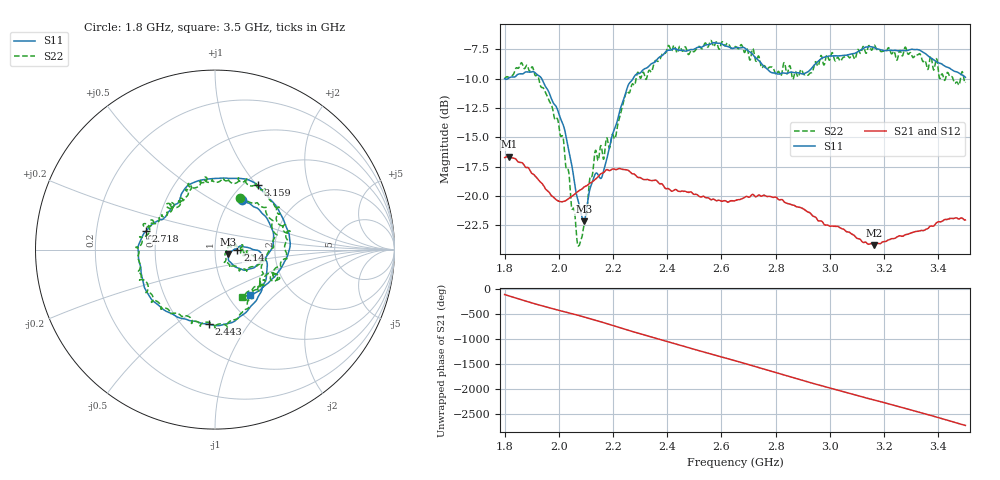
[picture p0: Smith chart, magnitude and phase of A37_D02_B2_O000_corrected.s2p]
! Created with skrf 1.9.0 (http://scikit-rf.org).
# Hz S RI R 50.0
!freq ReS11 ImS11 ReS21 ImS21 ReS12 ImS12 ReS22 ImS22
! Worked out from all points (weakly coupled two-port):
!   1601 points, 1.8 GHz to 3.5 GHz, reference 50 ohm
!   highest |S21| = -16.66 dB at 1.816 GHz (marker M1); lowest = -24.2 dB at 3.163 GHz (marker M2)
!   lowest |S11| = -22.2 dB at 2.092 GHz (marker M3), VSWR 1.17, Z = 57.9 - j2.89 ohm
!   |S11| at or under -10 dB: start of sweep to 1.813 GHz; 1.937 GHz to 2.274 GHz (337.4 MHz wide, 16 % of centre)
!   |S22| runs from -24.3 to -6.8 dB; largest |S21 - S12| = 0.0025
!   S11 on the Smith chart (normalised r, x): 1.8 GHz: 1.12, +0.69; 2.14 GHz: 1.29, -0.01; 2.443 GHz: 0.66, -0.67; 2.718 GHz: 0.44, +0.11; 3.159 GHz: 1.15, +1.01; 3.5 GHz: 1.27, -0.71
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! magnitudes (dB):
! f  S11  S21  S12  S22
! 1.8 GHz  -10.0  -16.7  -16.7  -10.0
! 1.816 GHz  -10.0  -16.7  -16.7  -9.9
! 1.902 GHz  -9.4  -18.1  -18.1  -9.0
! 1.966 GHz  -11.3  -19.7  -19.8  -12.0
! 2.02 GHz  -14.2  -20.5  -20.5  -15.9
! 2.07 GHz  -20.3  -19.6  -19.7  -24.2
! 2.084 GHz  -21.6  -19.4  -19.4  -23.6
! 2.092 GHz  -22.2  -19.3  -19.3  -22.6
! 2.14 GHz  -18.1  -18.5  -18.5  -16.5
! 2.161 GHz  -18.2  -18.1  -18.0  -16.4
! 2.208 GHz  -14.2  -17.8  -17.7  -15.1
! 2.259 GHz  -10.4  -17.9  -17.9  -11.2
! 2.367 GHz  -8.2  -18.9  -18.8  -8.5
! 2.443 GHz  -7.6  -19.6  -19.6  -7.4
! 2.65 GHz  -7.4  -20.4  -20.4  -7.3
! 2.718 GHz  -8.0  -19.9  -19.9  -7.5
! 2.805 GHz  -9.6  -20.2  -20.2  -9.6
! 2.934 GHz  -9.1  -21.7  -21.6  -9.5
! 3.159 GHz  -7.3  -24.2  -24.1  -7.4
! 3.163 GHz  -7.3  -24.2  -24.2  -7.2
! 3.217 GHz  -7.6  -23.8  -23.7  -7.4
! 3.5 GHz  -9.9  -22.1  -22.0  -10.3
